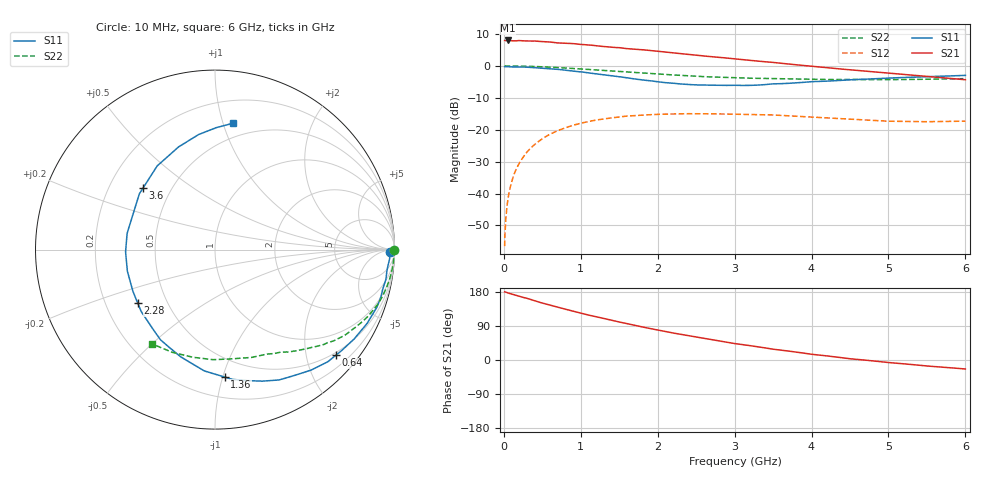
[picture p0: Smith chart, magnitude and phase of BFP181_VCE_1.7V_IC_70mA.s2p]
! Infineon Technologies  Discrete & RF Semiconductors
! BFP181
! VCE = 1.7 V,  IC =  70 mA
! Common Emitter S-Parameters:  Jan 2016
# GHz  S  MA  R  50
!  f  S11  S21  S12  S22
! GHz  MAG  ANG  MAG  ANG  MAG  ANG  MAG  ANG
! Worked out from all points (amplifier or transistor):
!   210 points, 10 MHz to 6 GHz, reference 50 ohm
!   highest |S21| = 8.0 dB at 50 MHz (marker M1)
!   |S21| within 3 dB of that: start of sweep to 1.843 GHz
!   unconditionally stable (mu >= 1): 3.332 GHz to end of sweep
!   at 185 MHz: K = 0.07, MSG = 19.5 dB, |S12| = -31.2 dB
!   at 1.52 GHz: K = 0.49, MSG = 10.8 dB, |S12| = -15.9 dB
!   at 6 GHz: K = 1.39, MAG = 2.8 dB, |S12| = -17.3 dB
!   S11 on the Smith chart (normalised r, x): 10 MHz: 60, -26; 640 MHz: 0.44, -2.60; 1.36 GHz: 0.35, -1.02; 2.28 GHz: 0.34, -0.28; 3.6 GHz: 0.35, +0.33; 6 GHz: 0.38, +1.08
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0.01  0.9724 -0.7  2.503 179.8  0.0015 89.0  0.9994 -0.2
0.015  0.9737 -1.1  2.495 179.7  0.0023 88.5  0.9981 -0.4
0.025  0.9748 -1.7  2.491 179.1  0.0039 88.9  0.997 -0.8
0.05  0.9742 -3.0  2.507 177.1  0.0077 90.2  0.9984 -1.6
0.08  0.9681 -5.2  2.491 175.4  0.0121 86.3  0.9976 -2.5
0.13  0.9656 -8.6  2.472 172.4  0.0196 83.8  0.9962 -4.0
0.24  0.961 -15.7  2.477 165.8  0.0356 79.3  0.9907 -7.5
0.5  0.9211 -32.8  2.409 150.2  0.0722 67.7  0.97 -15.3
0.64  0.8944 -41.2  2.337 142.8  0.0897 61.8  0.952 -19.4
0.9  0.8292 -57.8  2.239 128.7  0.1177 51.3  0.9134 -26.1
1.02  0.8021 -65.1  2.166 122.7  0.128 46.9  0.8934 -29.1
1.1  0.7789 -70.2  2.142 118.6  0.1347 44.1  0.8809 -31.0
1.36  0.7119 -85.6  1.978 106.9  0.1514 35.3  0.8391 -36.8
1.7  0.6266 -107.9  1.834 91.6  0.1668 25.9  0.7863 -43.1
2.02  0.5611 -128.2  1.687 78.3  0.175 18.3  0.744 -48.2
2.28  0.5238 -145.2  1.564 68.4  0.1779 12.5  0.7136 -52.6
2.78  0.4978 -177.4  1.37 50.8  0.1775 3.7  0.6673 -60.1
3.1  0.4947 164.2  1.259 40.7  0.174 -1.4  0.6462 -65.0
3.6  0.5274 139.6  1.102 26.1  0.1679 -7.0  0.6295 -73.1
4.1  0.5715 121.4  0.965 13.0  0.1562 -10.9  0.6145 -82.7
5.1  0.6526 96.3  0.752 -8.3  0.1356 -11.8  0.612 -103.9
6  0.7119 81.8  0.608 -23.8  0.1364 -6.2  0.6319 -123.8
